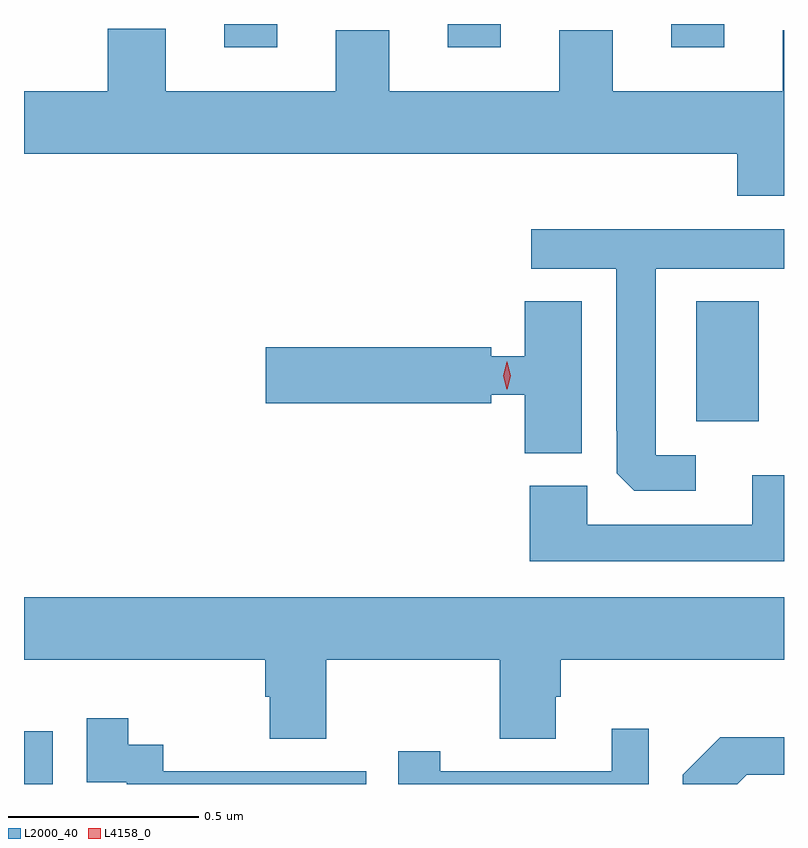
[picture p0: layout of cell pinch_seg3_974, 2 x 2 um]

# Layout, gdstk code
import gdstk
lib = gdstk.Library(unit=1e-6, precision=1e-09)
def R(c, l, rs):  # rectangles x0, y0, x1, y1
    for r in rs: c.add(gdstk.rectangle(r[:2], r[2:], *l))
def A(c, l, x, y, w, h, nx, ny, dx, dy):  # array of equal rectangles
    R(c, l, [(x+i*dx, y+j*dy, x+i*dx+w, y+j*dy+h) for i in range(nx) for j in range(ny)])
def P(c, l, *ps):  # polygons
    for p in ps: c.add(gdstk.Polygon(p, *l))
L2000_40 = (2000, 40)
L4158_0 = (4158, 0)

pinch_seg3_974 = lib.new_cell('pinch_seg3_974')
A(pinch_seg3_974, L2000_40, 406.541, 731.832, 0.14, 0.061, 3, 1, 0.588, 0)
R(pinch_seg3_974, L2000_40, [(406.014,729.893,406.089,730.032), (407.783,730.848,407.947,731.164)])
P(pinch_seg3_974, L2000_40, [(408.014,731.876),(408.011,731.876),(408.011,731.716),(407.563,731.716),(407.563,731.876),(407.423,731.876),(407.423,731.716),(406.975,731.716),(406.975,731.876),(406.835,731.876),(406.835,731.716),(406.387,731.716),(406.387,731.881),(406.235,731.881),(406.235,731.716),(406.014,731.716),(406.014,731.552),(407.891,731.552),(407.891,731.441),(408.014,731.441)],
  [(407.782,730.758),(407.677,730.758),(407.677,731.249),(408.014,731.249),(408.014,731.353),(407.349,731.353),(407.349,731.249),(407.573,731.249),(407.573,730.822),(407.574,730.822),(407.574,730.711),(407.62,730.665),(407.782,730.665)],
  [(407.482,731.164),(407.332,731.164),(407.332,731.019),(407.243,731.019),(407.243,731.042),(406.65,731.042),(406.65,730.895),(407.243,730.895),(407.243,730.918),(407.332,730.918),(407.332,730.763),(407.482,730.763)],
  [(408.014,730.705),(407.93,730.705),(407.93,730.575),(407.496,730.575),(407.496,730.678),(407.345,730.678),(407.345,730.479),(408.014,730.479)],
  [(406.809,730.22),(407.266,730.22),(407.266,730.012),(407.413,730.012),(407.413,730.122),(407.426,730.122),(407.426,730.22),(408.014,730.22),(408.014,730.384),(406.014,730.384),(406.014,730.22),(406.649,730.22),(406.649,730.122),(406.661,730.122),(406.661,730.012),(406.809,730.012)],
  [(406.914,729.927),(406.38,729.927),(406.38,729.996),(406.288,729.996),(406.288,730.066),(406.179,730.066),(406.179,729.897),(406.284,729.897),(406.284,729.893),(406.914,729.893)],
  [(407.658,730.039),(407.561,730.039),(407.561,729.927),(407.11,729.927),(407.11,729.979),(406.999,729.979),(406.999,729.893),(407.658,729.893)],
  [(407.916,729.918),(408.014,729.918),(408.014,730.016),(407.846,730.016),(407.748,729.918),(407.748,729.893),(407.891,729.893)])
P(pinch_seg3_974, L4158_0, [(407.285,730.932),(407.285,730.932),(407.275,730.968),(407.285,731.004),(407.285,731.004),(407.286,731.004),(407.295,730.968),(407.286,730.932)])

lib.write_gds('pinch_seg3_974.gds')
